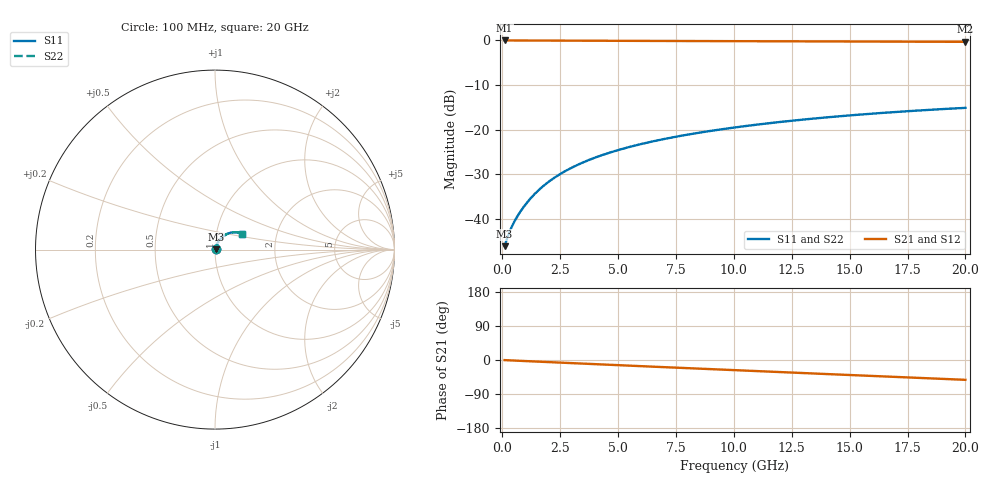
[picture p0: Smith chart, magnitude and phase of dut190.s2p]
! Touchstone file exported from HFSS 2026.1.0
!  File:  C:/ffzhzh/LocalFiles/Ansys_Project_Files/temp_train_TMRDL_190_1782983792_6248.aedt
!  Generated:  05:17:44 PM Jul  2, 2026
!  Design:  TMRDL
!  Project:  temp_train_TMRDL_190_1782983792_6248
! Variables:
!  h_bsmrdl = 2um
!  h_ox = 20um
!  h_rdl = 5um
!  h_sub = 80um
!  h_tmrdl = 5.06um
!  h_tsv = 80um
!  h_via = 3um
!  l_bsmrdl = 300um
!  l_sub = 1338.75um
!  l_tmrdl = 938.75um
!  m_sub = 200um
!  pitch = 22.44um
!  r_tsv = 6um
!  s_tmrdl = 10um
!  w_bsmrdl = 18um
!  w_sub = 500um
!  w_tmrdl = 14.7um
!  x_tsv_center1 = 946.1um
!  x_tsv_center2 = 1264.1um
!  x_tsv_center3 = 2217.55um
!  x_tsv_center4 = 2535.55um
!  x_tsv_center5 = 3489um
!  x_tsv_center6 = 3807um
# GHz S MA R 50.000000
! Terminal data exported
! Port[1] = TM_RDL1_1_T1
! Port[2] = TM_RDL1_1_T2
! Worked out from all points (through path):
!   200 points, 100 MHz to 20 GHz, reference 50 ohm
!   highest |S21| = -0.04 dB at 100 MHz (marker M1); lowest = -0.3 dB at 20 GHz (marker M2)
!   group delay of S21, straight-line fit = 7.23 ps
!   lowest |S11| = -46.1 dB at 100 MHz (marker M3), VSWR 1.01, Z = 50.5 + j0.173 ohm
!   |S11| at or under -10 dB: start of sweep to end of sweep
!   |S22| runs from -46.1 to -15.1 dB; largest |S21 - S12| = 8.2e-15
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0.1  0.004927 20.4  0.9954 -0.3  0.9954 -0.3  0.004927 20.4
! Gamma 0 0 0 0
! Port Impedance 50 0 50 0
0.2  0.00593 32.9  0.995 -0.6  0.995 -0.6  0.00593 32.9
0.3  0.007004 40.2  0.9947 -0.9  0.9947 -0.9  0.007004 40.2
0.4  0.008045 45.3  0.9944 -1.2  0.9944 -1.2  0.008045 45.3
0.6  0.0101 52.6  0.9941 -1.7  0.9941 -1.7  0.0101 52.6
0.9  0.01331 59.5  0.9937 -2.5  0.9937 -2.5  0.01331 59.5
1.3  0.01781 64.5  0.9932 -3.6  0.9932 -3.6  0.01781 64.5
1.5  0.02012 66.0  0.993 -4.2  0.993 -4.2  0.02012 66.0
1.8  0.0236 67.3  0.9926 -5.0  0.9926 -5.0  0.0236 67.3
2.3  0.02939 68.3  0.9918 -6.4  0.9918 -6.4  0.02939 68.3
2.9  0.03624 68.2  0.9907 -8.0  0.9907 -8.0  0.03624 68.2
3.5  0.04292 67.5  0.9896 -9.6  0.9896 -9.6  0.04292 67.5
4.2  0.05047 66.4  0.9881 -11.5  0.9881 -11.5  0.05048 66.4
5  0.05879 64.8  0.9865 -13.6  0.9865 -13.6  0.0588 64.8
5.9  0.0678 62.9  0.9846 -16.0  0.9846 -16.0  0.0678 62.9
6.8  0.07647 60.9  0.9828 -18.4  0.9828 -18.4  0.07647 60.9
8.3  0.09029 57.6  0.9799 -22.3  0.9799 -22.3  0.09029 57.6
10.1  0.106 53.5  0.9766 -27.0  0.9766 -27.0  0.106 53.5
11.7  0.1191 49.9  0.9738 -31.1  0.9738 -31.1  0.1191 49.9
13.4  0.1323 46.0  0.971 -35.5  0.971 -35.5  0.1323 46.0
16.7  0.1553 38.4  0.9657 -43.9  0.9657 -43.9  0.1554 38.3
20  0.1748 30.6  0.9609 -52.3  0.9609 -52.3  0.1749 30.6
